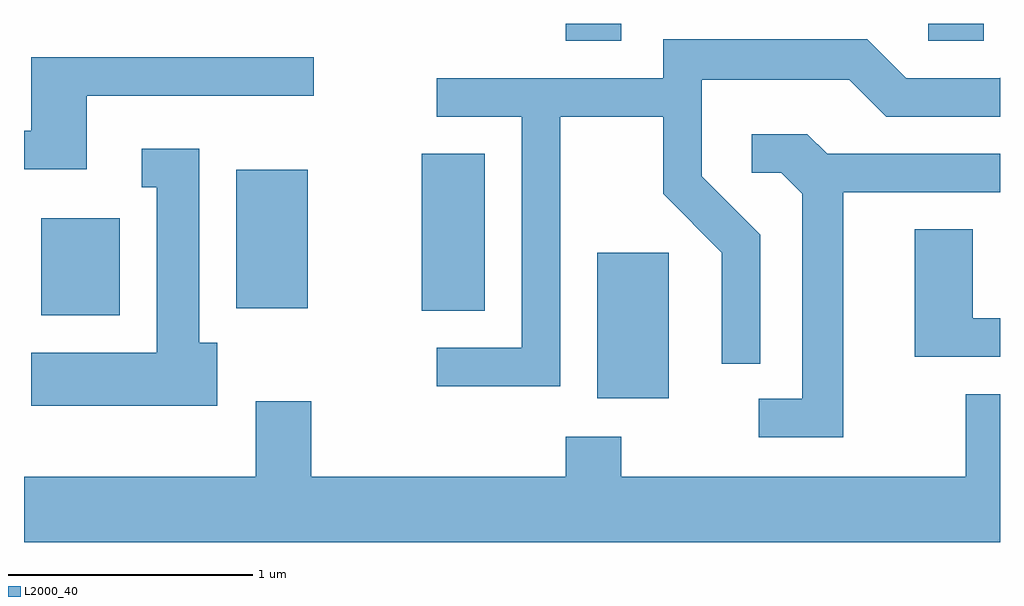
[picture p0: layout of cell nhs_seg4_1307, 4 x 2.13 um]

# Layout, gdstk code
import gdstk
lib = gdstk.Library(unit=1e-6, precision=1e-09)
def R(c, l, rs):  # rectangles x0, y0, x1, y1
    for r in rs: c.add(gdstk.rectangle(r[:2], r[2:], *l))
def P(c, l, *ps):  # polygons
    for p in ps: c.add(gdstk.Polygon(p, *l))
L2000_40 = (2000, 40)

nhs_seg4_1307 = lib.new_cell('nhs_seg4_1307')
R(nhs_seg4_1307, L2000_40, [(225.961,1286.446,226.254,1287.044), (223.681,1286.786,224.004,1287.184), (225.241,1286.806,225.499,1287.449), (224.481,1286.816,224.774,1287.384), (225.831,1287.911,226.059,1287.982), (227.316,1287.911,227.544,1287.982)])
P(nhs_seg4_1307, L2000_40, [(225.809,1287.601),(226.231,1287.601),(226.231,1287.284),(226.471,1287.044),(226.471,1286.588),(226.629,1286.588),(226.629,1287.117),(226.389,1287.357),(226.389,1287.751),(226.994,1287.751),(227.144,1287.601),(227.611,1287.601),(227.611,1287.761),(227.609,1287.759),(227.227,1287.759),(227.067,1287.919),(226.231,1287.919),(226.231,1287.759),(225.303,1287.759),(225.303,1287.601),(225.651,1287.601),(225.651,1286.654),(225.303,1286.654),(225.303,1286.496),(225.809,1286.496)],
  [(223.869,1287.686),(224.798,1287.686),(224.798,1287.844),(223.641,1287.844),(223.641,1287.544),(223.611,1287.544),(223.611,1287.386),(223.869,1287.386)],
  [(226.969,1287.291),(227.611,1287.291),(227.611,1287.449),(226.902,1287.449),(226.822,1287.529),(226.593,1287.529),(226.593,1287.371),(226.714,1287.371),(226.801,1287.284),(226.801,1286.444),(226.623,1286.444),(226.623,1286.286),(226.969,1286.286)],
  [(224.404,1286.674),(224.329,1286.674),(224.329,1287.469),(224.093,1287.469),(224.093,1287.311),(224.156,1287.311),(224.156,1286.634),(223.641,1286.634),(223.641,1286.416),(224.404,1286.416)],
  [(227.611,1286.774),(227.499,1286.774),(227.499,1287.139),(227.261,1287.139),(227.261,1286.616),(227.611,1286.616)],
  [(227.611,1286.464),(227.471,1286.464),(227.471,1286.124),(226.059,1286.124),(226.059,1286.289),(225.831,1286.289),(225.831,1286.124),(224.789,1286.124),(224.789,1286.434),(224.561,1286.434),(224.561,1286.124),(223.611,1286.124),(223.611,1285.856),(227.611,1285.856)])

lib.write_gds('nhs_seg4_1307.gds')
